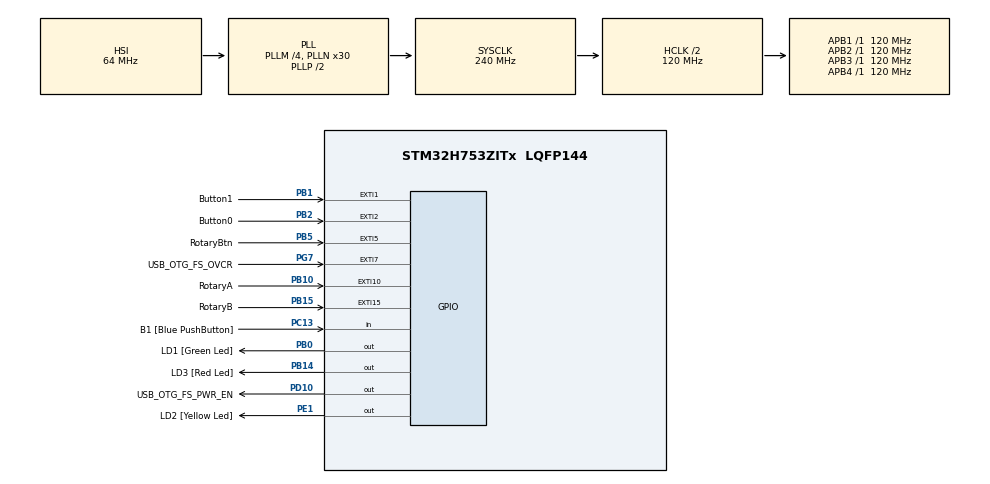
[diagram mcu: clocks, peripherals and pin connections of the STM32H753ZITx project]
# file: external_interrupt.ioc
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CORTEX_M7.CPU_DCache=Disabled
CORTEX_M7.CPU_ICache=Disabled
CORTEX_M7.MPU_Control=__NULL
Mcu.Family=STM32H7
Mcu.Name=STM32H753ZITx
Mcu.Package=LQFP144
NVIC.EXTI15_10_IRQn=true\:0\:0\:false\:false\:true\:true\:true
NVIC.EXTI1_IRQn=true\:0\:0\:false\:false\:true\:true\:true
NVIC.EXTI2_IRQn=true\:0\:0\:false\:false\:true\:true\:true
NVIC.EXTI9_5_IRQn=true\:0\:0\:false\:false\:true\:true\:true
NVIC.PriorityGroup=NVIC_PRIORITYGROUP_4
PA1.Signal=ETH_REF_CLK
PA11.Signal=USB_OTG_FS_DM
PA12.Signal=USB_OTG_FS_DP
PA13\ (JTMS/SWDIO).Mode=Serial_Wire
PA13\ (JTMS/SWDIO).Signal=DEBUG_JTMS-SWDIO
PA14\ (JTCK/SWCLK).Mode=Serial_Wire
PA14\ (JTCK/SWCLK).Signal=DEBUG_JTCK-SWCLK
PA2.Signal=ETH_MDIO
PA7.Signal=ETH_CRS_DV
PA8.Signal=USB_OTG_FS_SOF
PA9.Signal=USB_OTG_FS_VBUS
PB0.GPIO_Label=LD1 [Green Led]
PB0.Signal=GPIO_Output
PB1.GPIO_Label=Button1
PB1.GPIO_ModeDefaultEXTI=GPIO_MODE_IT_FALLING
PB1.Signal=GPXTI1
PB10.GPIO_Label=RotaryA
PB10.GPIO_ModeDefaultEXTI=GPIO_MODE_IT_RISING_FALLING
PB10.Signal=GPXTI10
PB13.Signal=ETH_TXD1
PB14.GPIO_Label=LD3 [Red Led]
PB14.Signal=GPIO_Output
PB15.GPIO_Label=RotaryB
PB15.GPIO_ModeDefaultEXTI=GPIO_MODE_IT_RISING_FALLING
PB15.Signal=GPXTI15
PB2.GPIO_Label=Button0
PB2.GPIO_ModeDefaultEXTI=GPIO_MODE_IT_FALLING
PB2.Signal=GPXTI2
PB5.GPIO_Label=RotaryBtn
PB5.GPIO_ModeDefaultEXTI=GPIO_MODE_IT_FALLING
PB5.Signal=GPXTI5
PC1.Signal=ETH_MDC
PC13.GPIO_Label=B1 [Blue PushButton]
PC13.Signal=GPIO_Input
PC14-OSC32_IN\ (OSC32_IN).Mode=LSE-External-Oscillator
PC14-OSC32_IN\ (OSC32_IN).Signal=RCC_OSC32_IN
PC15-OSC32_OUT\ (OSC32_OUT).Mode=LSE-External-Oscillator
PC15-OSC32_OUT\ (OSC32_OUT).Signal=RCC_OSC32_OUT
PC4.Signal=ETH_RXD0
PC5.Signal=ETH_RXD1
PD10.GPIO_Label=USB_OTG_FS_PWR_EN
PD10.Signal=GPIO_Output
PD8.GPIO_Label=STLINK_RX
PD8.Signal=USART3_TX
PD9.GPIO_Label=STLINK_TX
PD9.Signal=USART3_RX
PE1.GPIO_Label=LD2 [Yellow Led]
PE1.Signal=GPIO_Output
PG11.Signal=ETH_TX_EN
PG13.Signal=ETH_TXD0
PG7.GPIO_Label=USB_OTG_FS_OVCR
PG7.Signal=GPXTI7
PH0-OSC_IN\ (PH0).Mode=HSE-External-Clock-Source
PH0-OSC_IN\ (PH0).Signal=RCC_OSC_IN
PH1-OSC_OUT\ (PH1).Signal=RCC_OSC_OUT
ProjectManager.HeapSize=0x200
ProjectManager.StackSize=0x400
ProjectManager.TargetToolchain=STM32CubeIDE
RCC.ADCFreq_Value=129000000
RCC.APB1Freq_Value=120000000
RCC.APB2Freq_Value=120000000
RCC.APB3Freq_Value=120000000
RCC.APB4Freq_Value=120000000
RCC.CortexFreq_Value=240000000
RCC.DIVM1=4
RCC.DIVN1=30
RCC.DIVQ1=4
RCC.HCLKFreq_Value=120000000
RCC.HPRE=RCC_HCLK_DIV2
RCC.HSE_VALUE=8000000
RCC.PLL2FRACN=0
RCC.PLL3FRACN=0
RCC.PLLFRACN=0
RCC.PWR_Regulator_Voltage_Scale=PWR_REGULATOR_VOLTAGE_SCALE2
RCC.SYSCLKFreq_VALUE=240000000
RCC.SYSCLKSource=RCC_SYSCLKSOURCE_PLLCLK
RCC.USBFreq_Value=120000000
board=NUCLEO-H753ZI

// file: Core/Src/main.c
/* USER CODE BEGIN Header */
/**
 ******************************************************************************
 * @file           : main.c
 * @brief          : Main program body
 ******************************************************************************
 * @attention
 *
 * <h2><center>&copy; Copyright (c) 2024 STMicroelectronics.
 * All rights reserved.</center></h2>
 *
 * This software component is licensed by ST under BSD 3-Clause license,
 * the "License"; You may not use this file except in compliance with the
 * License. You may obtain a copy of the License at:
 *                        opensource.org/licenses/BSD-3-Clause
 *
 ******************************************************************************
 */
/* USER CODE END Header */
#include "main.h"

/* USER CODE BEGIN Includes */
#include "rotary.h"
/* USER CODE END Includes */

/* USER CODE BEGIN PV */
static led_delay_time = 500;
static rotary_handle_t hRotary;
/* USER CODE END PV */

void SystemClock_Config(void);
static void MX_GPIO_Init(void);
/* USER CODE BEGIN PFP */
static void user_rotary_callback(rotary_dir_e dir);
/* USER CODE END PFP */

int main(void) {

	/* MCU Configuration--------------------------------------------------------*/

	/* Reset of all peripherals, Initializes the Flash interface and the Systick. */
	HAL_Init();

	/* Configure the system clock */
	SystemClock_Config();

	/* Initialize all configured peripherals */
	MX_GPIO_Init();
	/* USER CODE BEGIN 2 */
	/*初始化rotary 句柄，且設定user_rotary_callback為事件發生時的回調*/
	rotary_init(&hRotary, RotaryA_Pin, RotaryB_Pin, user_rotary_callback);
	/* USER CODE END 2 */

	/* Infinite loop */
	/* USER CODE BEGIN WHILE */
	while (1) {
		HAL_GPIO_TogglePin(LD1_GPIO_Port, LD1_Pin);
		/* USER CODE END WHILE */
		/* USER CODE BEGIN 3 */
		HAL_Delay(led_delay_time);
	}
	/* USER CODE END 3 */
}

void SystemClock_Config(void) {
	RCC_OscInitTypeDef RCC_OscInitStruct = { 0 };
	RCC_ClkInitTypeDef RCC_ClkInitStruct = { 0 };

	/** Supply configuration update enable
	 */
	HAL_PWREx_ConfigSupply(PWR_LDO_SUPPLY);
	/** Configure the main internal regulator output voltage
	 */
	__HAL_PWR_VOLTAGESCALING_CONFIG(PWR_REGULATOR_VOLTAGE_SCALE2);

	while (!__HAL_PWR_GET_FLAG(PWR_FLAG_VOSRDY)) {
	}
	/** Initializes the RCC Oscillators according to the specified parameters
	 * in the RCC_OscInitTypeDef structure.
	 */
	RCC_OscInitStruct.OscillatorType = RCC_OSCILLATORTYPE_HSI;
	RCC_OscInitStruct.HSIState = RCC_HSI_DIV1;
	RCC_OscInitStruct.HSICalibrationValue = RCC_HSICALIBRATION_DEFAULT;
	RCC_OscInitStruct.PLL.PLLState = RCC_PLL_ON;
	RCC_OscInitStruct.PLL.PLLSource = RCC_PLLSOURCE_HSI;
	RCC_OscInitStruct.PLL.PLLM = 4;
	RCC_OscInitStruct.PLL.PLLN = 30;
	RCC_OscInitStruct.PLL.PLLP = 2;
	RCC_OscInitStruct.PLL.PLLQ = 4;
	RCC_OscInitStruct.PLL.PLLR = 2;
	RCC_OscInitStruct.PLL.PLLRGE = RCC_PLL1VCIRANGE_3;
	RCC_OscInitStruct.PLL.PLLVCOSEL = RCC_PLL1VCOWIDE;
	RCC_OscInitStruct.PLL.PLLFRACN = 0;
	if (HAL_RCC_OscConfig(&RCC_OscInitStruct) != HAL_OK) {
		Error_Handler();
	}
	/** Initializes the CPU, AHB and APB buses clocks
	 */
	RCC_ClkInitStruct.ClockType = RCC_CLOCKTYPE_HCLK | RCC_CLOCKTYPE_SYSCLK
			| RCC_CLOCKTYPE_PCLK1 | RCC_CLOCKTYPE_PCLK2 | RCC_CLOCKTYPE_D3PCLK1
			| RCC_CLOCKTYPE_D1PCLK1;
	RCC_ClkInitStruct.SYSCLKSource = RCC_SYSCLKSOURCE_PLLCLK;
	RCC_ClkInitStruct.SYSCLKDivider = RCC_SYSCLK_DIV1;
	RCC_ClkInitStruct.AHBCLKDivider = RCC_HCLK_DIV2;
	RCC_ClkInitStruct.APB3CLKDivider = RCC_APB3_DIV1;
	RCC_ClkInitStruct.APB1CLKDivider = RCC_APB1_DIV1;
	RCC_ClkInitStruct.APB2CLKDivider = RCC_APB2_DIV1;
	RCC_ClkInitStruct.APB4CLKDivider = RCC_APB4_DIV1;

	if (HAL_RCC_ClockConfig(&RCC_ClkInitStruct, FLASH_LATENCY_2) != HAL_OK) {
		Error_Handler();
	}
}

static void MX_GPIO_Init(void) {
	GPIO_InitTypeDef GPIO_InitStruct = { 0 };

	/* GPIO Ports Clock Enable */
	__HAL_RCC_GPIOC_CLK_ENABLE();
	__HAL_RCC_GPIOH_CLK_ENABLE();
	__HAL_RCC_GPIOA_CLK_ENABLE();
	__HAL_RCC_GPIOB_CLK_ENABLE();
	__HAL_RCC_GPIOD_CLK_ENABLE();
	__HAL_RCC_GPIOG_CLK_ENABLE();
	__HAL_RCC_GPIOE_CLK_ENABLE();

	/*Configure GPIO pin Output Level */
	HAL_GPIO_WritePin(GPIOB, LD1_Pin | LD3_Pin, GPIO_PIN_RESET);

	/*Configure GPIO pin Output Level */
	HAL_GPIO_WritePin(USB_OTG_FS_PWR_EN_GPIO_Port, USB_OTG_FS_PWR_EN_Pin,
			GPIO_PIN_RESET);

	/*Configure GPIO pin Output Level */
	HAL_GPIO_WritePin(LD2_GPIO_Port, LD2_Pin, GPIO_PIN_RESET);

	/*Configure GPIO pin : B1_Pin */
	GPIO_InitStruct.Pin = B1_Pin;
	GPIO_InitStruct.Mode = GPIO_MODE_INPUT;
	GPIO_InitStruct.Pull = GPIO_NOPULL;
	HAL_GPIO_Init(B1_GPIO_Port, &GPIO_InitStruct);

	/*Configure GPIO pins : PC1 PC4 PC5 */
	GPIO_InitStruct.Pin = GPIO_PIN_1 | GPIO_PIN_4 | GPIO_PIN_5;
	GPIO_InitStruct.Mode = GPIO_MODE_AF_PP;
	GPIO_InitStruct.Pull = GPIO_NOPULL;
	GPIO_InitStruct.Speed = GPIO_SPEED_FREQ_LOW;
	GPIO_InitStruct.Alternate = GPIO_AF11_ETH;
	HAL_GPIO_Init(GPIOC, &GPIO_InitStruct);

	/*Configure GPIO pins : PA1 PA2 PA7 */
	GPIO_InitStruct.Pin = GPIO_PIN_1 | GPIO_PIN_2 | GPIO_PIN_7;
	GPIO_InitStruct.Mode = GPIO_MODE_AF_PP;
	GPIO_InitStruct.Pull = GPIO_NOPULL;
	GPIO_InitStruct.Speed = GPIO_SPEED_FREQ_LOW;
	GPIO_InitStruct.Alternate = GPIO_AF11_ETH;
	HAL_GPIO_Init(GPIOA, &GPIO_InitStruct);

	/*Configure GPIO pins : LD1_Pin LD3_Pin */
	GPIO_InitStruct.Pin = LD1_Pin | LD3_Pin;
	GPIO_InitStruct.Mode = GPIO_MODE_OUTPUT_PP;
	GPIO_InitStruct.Pull = GPIO_NOPULL;
	GPIO_InitStruct.Speed = GPIO_SPEED_FREQ_LOW;
	HAL_GPIO_Init(GPIOB, &GPIO_InitStruct);

	/*Configure GPIO pins : Button1_Pin Button0_Pin RotaryBtn_Pin */
	GPIO_InitStruct.Pin = Button1_Pin | Button0_Pin | RotaryBtn_Pin;
	GPIO_InitStruct.Mode = GPIO_MODE_IT_FALLING;
	GPIO_InitStruct.Pull = GPIO_NOPULL;
	HAL_GPIO_Init(GPIOB, &GPIO_InitStruct);

	/*Configure GPIO pins : RotaryA_Pin RotaryB_Pin */
	GPIO_InitStruct.Pin = RotaryA_Pin | RotaryB_Pin;
	GPIO_InitStruct.Mode = GPIO_MODE_IT_RISING_FALLING;
	GPIO_InitStruct.Pull = GPIO_NOPULL;
	HAL_GPIO_Init(GPIOB, &GPIO_InitStruct);

	/*Configure GPIO pin : PB13 */
	GPIO_InitStruct.Pin = GPIO_PIN_13;
	GPIO_InitStruct.Mode = GPIO_MODE_AF_PP;
	GPIO_InitStruct.Pull = GPIO_NOPULL;
	GPIO_InitStruct.Speed = GPIO_SPEED_FREQ_LOW;
	GPIO_InitStruct.Alternate = GPIO_AF11_ETH;
	HAL_GPIO_Init(GPIOB, &GPIO_InitStruct);

	/*Configure GPIO pins : STLINK_RX_Pin STLINK_TX_Pin */
	GPIO_InitStruct.Pin = STLINK_RX_Pin | STLINK_TX_Pin;
	GPIO_InitStruct.Mode = GPIO_MODE_AF_PP;
	GPIO_InitStruct.Pull = GPIO_NOPULL;
	GPIO_InitStruct.Speed = GPIO_SPEED_FREQ_LOW;
	GPIO_InitStruct.Alternate = GPIO_AF7_USART3;
	HAL_GPIO_Init(GPIOD, &GPIO_InitStruct);

	/*Configure GPIO pin : USB_OTG_FS_PWR_EN_Pin */
	GPIO_InitStruct.Pin = USB_OTG_FS_PWR_EN_Pin;
	GPIO_InitStruct.Mode = GPIO_MODE_OUTPUT_PP;
	GPIO_InitStruct.Pull = GPIO_NOPULL;
	GPIO_InitStruct.Speed = GPIO_SPEED_FREQ_LOW;
	HAL_GPIO_Init(USB_OTG_FS_PWR_EN_GPIO_Port, &GPIO_InitStruct);

	/*Configure GPIO pin : USB_OTG_FS_OVCR_Pin */
	GPIO_InitStruct.Pin = USB_OTG_FS_OVCR_Pin;
	GPIO_InitStruct.Mode = GPIO_MODE_IT_RISING;
	GPIO_InitStruct.Pull = GPIO_NOPULL;
	HAL_GPIO_Init(USB_OTG_FS_OVCR_GPIO_Port, &GPIO_InitStruct);

	/*Configure GPIO pins : PA8 PA11 PA12 */
	GPIO_InitStruct.Pin = GPIO_PIN_8 | GPIO_PIN_11 | GPIO_PIN_12;
	GPIO_InitStruct.Mode = GPIO_MODE_AF_PP;
	GPIO_InitStruct.Pull = GPIO_NOPULL;
	GPIO_InitStruct.Speed = GPIO_SPEED_FREQ_LOW;
	GPIO_InitStruct.Alternate = GPIO_AF10_OTG1_FS;
	HAL_GPIO_Init(GPIOA, &GPIO_InitStruct);

	/*Configure GPIO pins : PG11 PG13 */
	GPIO_InitStruct.Pin = GPIO_PIN_11 | GPIO_PIN_13;
	GPIO_InitStruct.Mode = GPIO_MODE_AF_PP;
	GPIO_InitStruct.Pull = GPIO_NOPULL;
	GPIO_InitStruct.Speed = GPIO_SPEED_FREQ_LOW;
	GPIO_InitStruct.Alternate = GPIO_AF11_ETH;
	HAL_GPIO_Init(GPIOG, &GPIO_InitStruct);

	/*Configure GPIO pin : LD2_Pin */
	GPIO_InitStruct.Pin = LD2_Pin;
	GPIO_InitStruct.Mode = GPIO_MODE_OUTPUT_PP;
	GPIO_InitStruct.Pull = GPIO_NOPULL;
	GPIO_InitStruct.Speed = GPIO_SPEED_FREQ_LOW;
	HAL_GPIO_Init(LD2_GPIO_Port, &GPIO_InitStruct);

	/* EXTI interrupt init*/
	HAL_NVIC_SetPriority(EXTI1_IRQn, 0, 0);
	HAL_NVIC_EnableIRQ(EXTI1_IRQn);

	HAL_NVIC_SetPriority(EXTI2_IRQn, 0, 0);
	HAL_NVIC_EnableIRQ(EXTI2_IRQn);

	HAL_NVIC_SetPriority(EXTI9_5_IRQn, 0, 0);
	HAL_NVIC_EnableIRQ(EXTI9_5_IRQn);

	HAL_NVIC_SetPriority(EXTI15_10_IRQn, 0, 0);
	HAL_NVIC_EnableIRQ(EXTI15_10_IRQn);

}

/* USER CODE BEGIN 4 */
static void user_rotary_callback(rotary_dir_e dir) {
	switch (dir) {
	case ROTARY_DIR_A:
		/* 當rotary 向A 方向(順時針)旋轉時，降低LDE1 閃爍速度 */
		led_delay_time += 10;
		break;
	case ROTARY_DIR_B:
		/* 當rotary 向B 方向(逆時針)旋轉時，增加LDE1 閃爍速度 */
		if (led_delay_time > 10)
			led_delay_time -= 10;
		break;
	}
}

void HAL_GPIO_EXTI_Callback(uint16_t GPIO_Pin) {
	/* 中斷任務 */
	switch (GPIO_Pin) {
	case Button0_Pin:
		/*當 SW1 被按下時改變LED2 的明滅*/
		HAL_GPIO_TogglePin(LD2_GPIO_Port, LD2_Pin);
		break;
	case Button1_Pin:
		break;
	case RotaryBtn_Pin:
		/*當 rotary 被按下時，重制LDE 閃爍速度*/
		led_delay_time = 500;
		break;
	default:
		/*rotary 驅動函式*/
		rotary_event(&hRotary, GPIO_Pin);
		break;
	}
}
/* USER CODE END 4 */

void Error_Handler(void) {
	__disable_irq();
	while (1) {
	}
}

/************************ (C) COPYRIGHT STMicroelectronics *****END OF FILE****/
